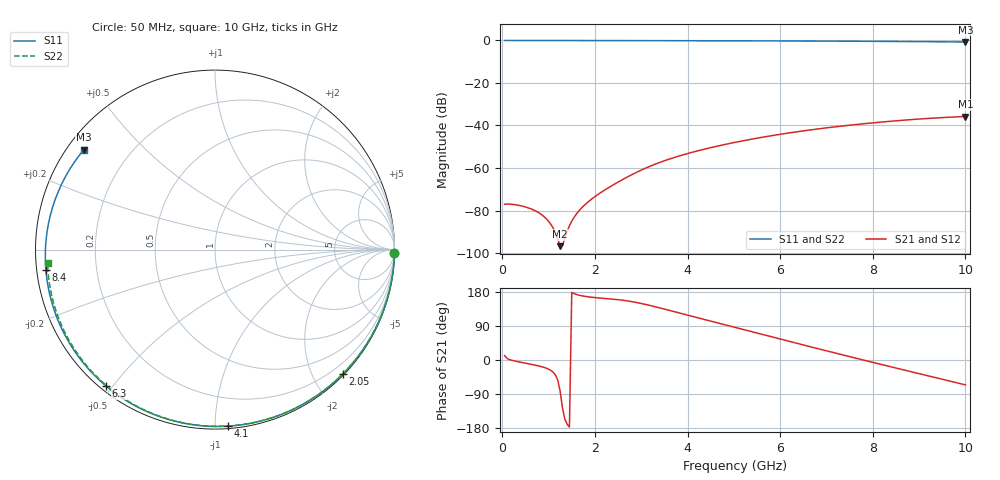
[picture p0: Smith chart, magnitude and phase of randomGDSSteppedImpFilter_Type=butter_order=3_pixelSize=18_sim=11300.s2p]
! freq	dB(S11)	phase(S11)	dB(S12)	phase(S12)
!  dB(S21)	phase(S21)	dB(S22)	phase(S22)
!S-par simulation data
#  GHz  S  DB  R 50
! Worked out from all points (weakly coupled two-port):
!   200 points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, 50 MHz to 10 GHz, reference 50 ohm
!   highest |S21| = -35.78 dB at 10 GHz (marker M1); lowest = -96.8 dB at 1.25 GHz (marker M2)
!   lowest |S11| = -0.7 dB at 10 GHz (marker M3), VSWR 23.56, Z = 2.36 + j16.8 ohm
!   |S11| at or under -10 dB: nowhere
!   |S22| runs from -0.6 to 0.0 dB; largest |S21 - S12| = 0
!   S11 on the Smith chart (normalised r, x): 50 MHz: open; 2.05 GHz: 0.02, -2.47; 4.1 GHz: 0.01, -1.08; 6.3 GHz: 0.02, -0.48; 8.4 GHz: 0.03, -0.06; 10 GHz: 0.05, +0.34
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0.05  -0.00 -1.1  -77.05 11.5  -77.05 11.5  -0.00 -1.0
0.4  -0.01 -8.8  -77.75 -6.0  -77.75 -6.0  -0.01 -8.1
0.7  -0.02 -15.3  -79.98 -13.2  -79.98 -13.2  -0.02 -14.2
1.25  -0.03 -27.2  -96.76 -82.9  -96.76 -82.9  -0.03 -25.1
1.65  -0.04 -35.7  -80.30 171.2  -80.30 171.2  -0.04 -33.0
1.75  -0.05 -37.8  -77.96 168.6  -77.96 168.6  -0.04 -34.9
2.05  -0.06 -44.1  -72.68 164.2  -72.68 164.2  -0.05 -40.8
2.35  -0.06 -50.4  -68.51 161.1  -68.51 161.1  -0.06 -46.5
2.75  -0.08 -58.7  -63.65 155.0  -63.65 155.0  -0.07 -54.1
3.4  -0.10 -71.9  -57.37 137.5  -57.37 137.5  -0.09 -66.1
4.1  -0.12 -85.8  -52.60 115.3  -52.60 115.3  -0.11 -78.6
5.05  -0.16 -104.4  -47.82 85.3  -47.82 85.3  -0.15 -95.0
5.65  -0.20 -116.0  -45.39 66.5  -45.39 66.5  -0.18 -105.0
6.3  -0.24 -128.8  -43.14 46.0  -43.14 46.0  -0.21 -115.6
6.7  -0.27 -136.7  -41.93 33.5  -41.93 33.5  -0.24 -122.1
7.55  -0.35 -154.2  -39.74 7.3  -39.74 7.3  -0.30 -135.6
8.35  -0.45 -172.0  -38.07 -16.7  -38.07 -16.7  -0.38 -148.3
8.4  -0.45 -173.1  -37.97 -18.2  -37.97 -18.2  -0.38 -149.1
8.85  -0.52 175.9  -37.19 -31.6  -37.19 -31.6  -0.43 -156.4
9.25  -0.58 165.4  -36.60 -43.5  -36.60 -43.5  -0.48 -162.9
9.65  -0.66 153.9  -36.11 -55.3  -36.11 -55.3  -0.53 -169.5
10  -0.74 142.7  -35.78 -65.6  -35.78 -65.6  -0.57 -175.4
